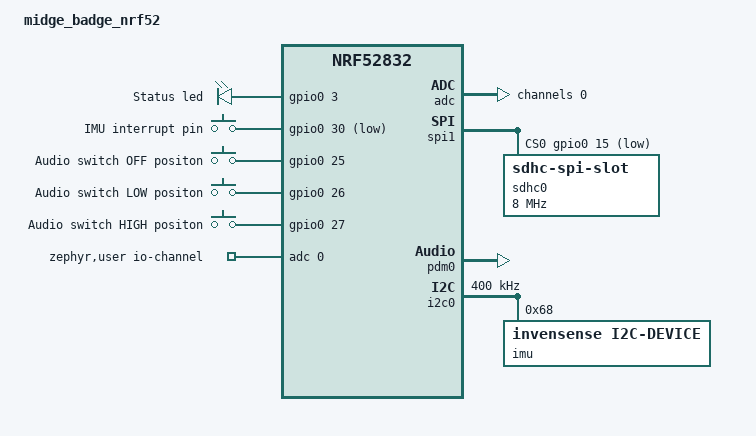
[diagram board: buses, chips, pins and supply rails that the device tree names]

/dts-v1/;
#include <nordic/nrf52832_qfaa.dtsi>
#include "midge_badge_nrf52-pinctrl.dtsi"
#include <zephyr/dt-bindings/input/input-event-codes.h>
#include <zephyr/dt-bindings/sensor/icm20948.h>
#define CLOSED_SOURCE_ICM20948 1
/**
 * LED_IND PO.03 pin 19
 * SCL     PO.02 pin 15
 * SDA     PO.00 pin 13
 * INT1    PO.30 pin 11
 * CD      PO.09 pin 25
 * SW      PO.11 pin 27
 * CS      PO.15 pin 25
 * MOSI    PO.16 pin 34
 * CLK     PO.17 pin 35
 * MISO    PO.18 pin 38
 * BATSEN  PO.05 pin 21
 * MICDOUT PO.13 pin 31
 * MICCLK  PO.14 pin 32
 * SW2OFF  PO.25 pin 6
 * SW2LOW  PO.26 pin 7
 * SW2HIGH PO.27 pin 8
 */


/ {
	model = "midge_badge_nrf52";
	compatible = "nordic,midge-badge-nrf52";

	chosen {
		/*zephyr,console = &uart0;
		zephyr,shell-uart = &uart0;
		zephyr,uart-mcumgr = &uart0;
		zephyr,bt-mon-uart = &uart0;
		zephyr,bt-c2h-uart = &uart0;*/
		zephyr,sram = &sram0;
		zephyr,flash = &flash0;
		zephyr,code-partition = &slot0_partition;
	};

	leds {
		compatible = "gpio-leds";

		led0: led_0 {
			gpios = <&gpio0 3 GPIO_ACTIVE_HIGH>;
			label = "Status led";
		};
	};
#if CLOSED_SOURCE_ICM20948
	imu_int_pin {
		compatible = "gpio-keys";

		imu_int: imu_int_pin {
			gpios = <&gpio0 30 (GPIO_PULL_UP | GPIO_ACTIVE_LOW)>;
			label = "IMU interrupt pin";
		};
	};
#endif

	switch_pos {
		compatible= "gpio-keys";

		sw_audio_off: sw_0{
			gpios = <&gpio0 25 (GPIO_PULL_DOWN | GPIO_ACTIVE_HIGH)>;
			label = "Audio switch OFF positon";
		};
		sw_audio_low: sw_1{
			gpios = <&gpio0 26 (GPIO_PULL_DOWN | GPIO_ACTIVE_HIGH)>;
			label = "Audio switch LOW positon";
		};
		sw_audio_high: sw_2{
			gpios = <&gpio0 27 (GPIO_PULL_DOWN | GPIO_ACTIVE_HIGH)>;
			label = "Audio switch HIGH positon";
		};
	};

	zephyr,user {
		io-channels=<&adc 0>;
	};

	/* These aliases are provided for compatibility with samples */
	aliases {
		led0 = &led0;
		sw-audio-off = &sw_audio_off;
		sw-audio-low = &sw_audio_low;
		sw-audio-high = &sw_audio_high;
		mcuboot-led0 = &led0;
		imu-i2c = &i2c1;
#if CLOSED_SOURCE_ICM20948
		imu-int = &imu_int;
#endif
	};
};

/*&reg {
	regulator-initial-mode = <NRF5X_REG_MODE_DCDC>;
};


&uicr {
	gpio-as-nreset;
};


&nfct {
	status = "okay";
};*/

&adc {
	#address-cells = <1>;
	#size-cells = <0>;
	status = "okay";
	channel@0 {
		reg = <0>;
		zephyr,gain = "ADC_GAIN_1_4";
		zephyr,reference = "ADC_REF_INTERNAL"; /* 600mV */
		zephyr,acquisition-time = <ADC_ACQ_TIME_DEFAULT>; /* 10us */
		zephyr,input-positive = <NRF_SAADC_AIN3>; /*PO.05*/
		zephyr,resolution = <12>;
	};
};


&gpiote {
	status = "okay";
};

&gpio0 {
	status = "okay";
};

&spi1 {
	compatible = "nordic,nrf-spim";
	status = "okay";
	pinctrl-names = "default", "sleep";
	pinctrl-0 = <&spi1_default>;
	pinctrl-1 = <&spi1_sleep>;
	cs-gpios = <&gpio0 15 GPIO_ACTIVE_LOW>;

	sdhc0: sdhc@0 {
		compatible = "zephyr,sdhc-spi-slot";
		reg = <0>;
		status = "okay";
		mmc {
			compatible = "zephyr,sdmmc-disk";
			disk-name = "SD";
			status = "okay";
		};
		spi-max-frequency = <8000000>; // Max SPI clk supported by nrf52832
	};
};

dmic_dev: &pdm0 {
	status = "okay";
	pinctrl-0 = <&pdm0_default_alt>;
	pinctrl-names = "default";
	clock-source = "PCLK32M_HFXO";
};

&i2c0 {
	compatible = "nordic,nrf-twim";
	status = "okay";
	pinctrl-0 = <&i2c0_default>;
	pinctrl-1 = <&i2c0_sleep>;
	pinctrl-names = "default", "sleep";
	clock-frequency = <400000>;
	zephyr,concat-buf-size = <255>;
	zephyr,flash-buf-max-size = <255>;

	imu: icm20948@68 {
#if CLOSED_SOURCE_ICM20948
		compatible = "invensense,i2c-device";
#else
		compatible = "invensense,icm20948";
		int-gpios = <&gpio0 30 GPIO_ACTIVE_HIGH>;
		mag-mode = <ICM20948_DT_MAG_MODE_50HZ>; /* 50Hz magnetometer */
		gyro-fs = <ICM20948_DT_GYRO_FS_1000>; /* 1000 dps gyro full scale */
		accel-fs = <ICM20948_DT_ACCEL_FS_4>; /* 4 g accel full scale */
#endif
		status = "okay";
		reg = <0x68>;
	};
};

&flash0 {

	partitions {
		compatible = "fixed-partitions";
		#address-cells = <1>;
		#size-cells = <1>;

		boot_partition: partition@0 {
			label = "mcuboot";
			reg = <0x00000000 0xc000>;
		};
		slot0_partition: partition@c000 {
			label = "image-0";
			reg = <0x0000C000 0x32000>;
		};
		slot1_partition: partition@3e000 {
			label = "image-1";
			reg = <0x0003E000 0x32000>;
		};
		scratch_partition: partition@70000 {
			label = "image-scratch";
			reg = <0x00070000 0xa000>;
		};
		storage_partition: partition@7a000 {
			label = "storage";
			reg = <0x0007a000 0x00006000>;
		};
	};
};
